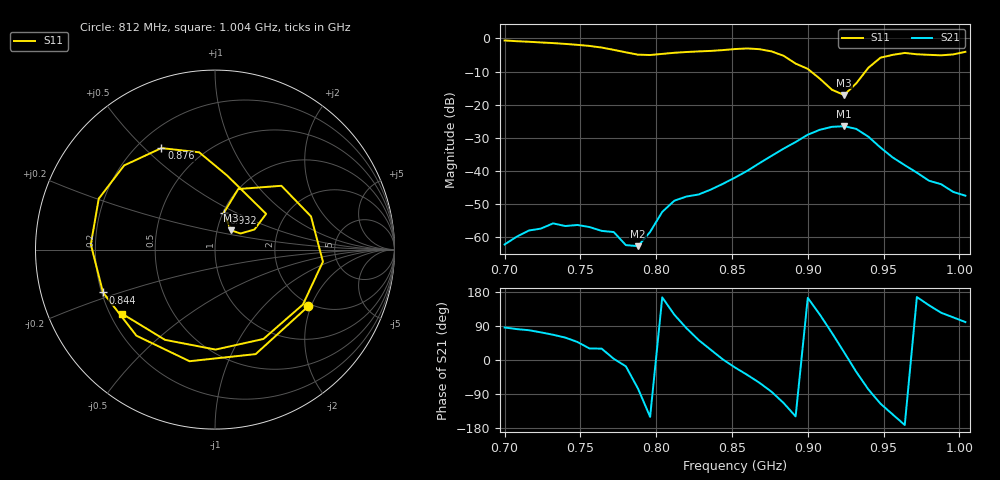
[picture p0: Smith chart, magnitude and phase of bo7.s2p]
# Hz S RI R 50
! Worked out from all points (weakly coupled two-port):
!   39 points, 700 MHz to 1.004 GHz, reference 50 ohm
!   highest |S21| = -26.49 dB at 924 MHz (marker M1); lowest = -62.7 dB at 788 MHz (marker M2)
!   lowest |S11| = -17.1 dB at 924 MHz (marker M3), VSWR 1.33, Z = 58.4 + j12.8 ohm
!   |S11| at or under -10 dB: 902.2 MHz to 938 MHz (35.81 MHz wide, 3.89 % of centre)
!   S12 and S22 are empty: the file has one direction only
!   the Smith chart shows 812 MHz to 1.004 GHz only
!   S11 on the Smith chart (normalised r, x): 812 MHz: 1.91, -1.91; 844 MHz: 0.21, -0.18; 876 MHz: 0.29, +0.56; 932 MHz: 1.01, +0.43; 1.004 GHz: 0.25, -0.29
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7e8  0.7647 0.5355  5.67e-05 0.000776  0 0  0 0
7.24e8  0.8308 -0.2608  0.000398 0.00129  0 0  0 0
7.4e8  0.444 -0.6991  0.000756 0.00127  0 0  0 0
7.56e8  -0.1969 -0.7464  0.00123 0.000721  0 0  0 0
7.72e8  -0.6491 -0.1795  0.0012 6.78e-05  0 0  0 0
7.88e8  -0.209 0.53  0.000184 -0.000709  0 0  0 0
7.96e8  0.2731 0.4919  -0.00104 -0.0006  0 0  0 0
8.04e8  0.5715 0.1254  -0.00233 0.000615  0 0  0 0
8.12e8  0.5204 -0.3151  -0.00175 0.0031  0 0  0 0
8.28e8  -0.142 -0.6219  0.00268 0.00351  0 0  0 0
8.44e8  -0.624 -0.2389  0.00639 0.000176  0 0  0 0
8.52e8  -0.6918 0.0294  0.00747 -0.00269  0 0  0 0
8.76e8  -0.2984 0.5655  0.00193 -0.0167  0 0  0 0
9e8  0.2851 0.1991  -0.0339 0.0097  0 0  0 0
9.08e8  0.22 0.1121  -0.0208 0.0364  0 0  0 0
9.24e8  0.09 0.1073  0.0444 0.0165  0 0  0 0
9.32e8  0.0488 0.2046  0.0369 -0.0224  0 0  0 0
9.48e8  0.3702 0.3555  -0.00965 -0.0204  0 0  0 0
9.56e8  0.5348 0.185  -0.0129 -0.00953  0 0  0 0
9.64e8  0.6013 -0.0673  -0.0121 -0.00179  0 0  0 0
9.8e8  0.2698 -0.4979  -0.00579 0.00415  0 0  0 0
1.004e9  -0.5174 -0.3572  -0.000744 0.00417  0 0  0 0
